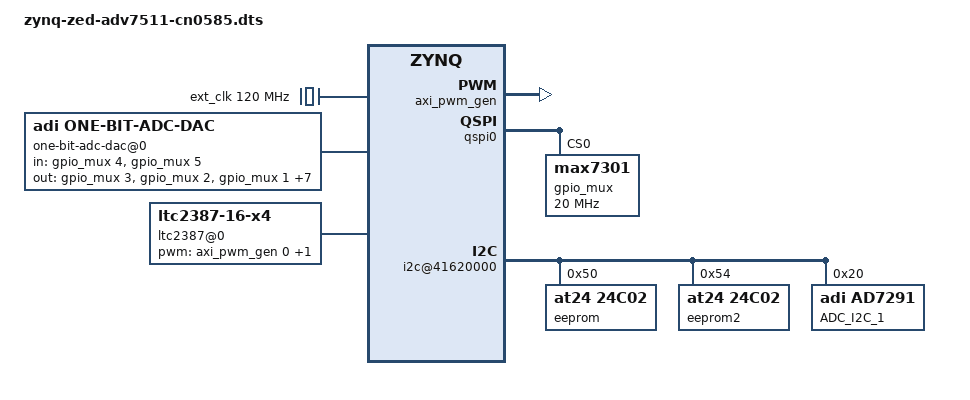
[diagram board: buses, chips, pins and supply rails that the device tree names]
/dts-v1/;

#include "zynq-zed.dtsi"
#include "zynq-zed-adv7511.dtsi"
#include <dt-bindings/interrupt-controller/irq.h>
#include <dt-bindings/gpio/gpio.h>
#include <dt-bindings/pwm/pwm.h>

/ {
	clocks {
		ext_clk: clock@0 {
			#clock-cells = <0>;
			compatible = "fixed-clock";
			clock-frequency = <120000000>;
		};
	};

	one-bit-adc-dac@0 {
		compatible = "adi,one-bit-adc-dac";
		#address-cells = <1>;
		#size-cells = <0>;

		in-gpios =  <&gpio_mux 4 GPIO_ACTIVE_HIGH>,
				<&gpio_mux 5 GPIO_ACTIVE_HIGH>;
		out-gpios = <&gpio_mux 3 GPIO_ACTIVE_HIGH>,
				<&gpio_mux 2 GPIO_ACTIVE_HIGH>,
				<&gpio_mux 1 GPIO_ACTIVE_HIGH>,
				<&gpio_mux 0 GPIO_ACTIVE_HIGH>,
				<&gpio_mux 6 GPIO_ACTIVE_HIGH>,
				<&gpio_mux 7 GPIO_ACTIVE_HIGH>,
				<&gpio_mux 11 GPIO_ACTIVE_HIGH>,
				<&gpio_mux 12 GPIO_ACTIVE_HIGH>,
				<&gpio_mux 13 GPIO_ACTIVE_HIGH>,
				<&gpio_mux 14 GPIO_ACTIVE_HIGH>;

		channel@0 {
			reg = <0>;
			label = "GPIO4_VIO";
		};
		channel@1 {
			reg = <1>;
			label = "GPIO5_VIO";
		};
		channel@2 {
			reg = <2>;
			label = "GPIO0_VIO";
		};
		channel@3 {
			reg = <3>;
			label = "GPIO1_VIO";
		};
		channel@4 {
			reg = <4>;
			label = "GPIO2_VIO";
		};
		channel@5 {
			reg = <5>;
			label = "GPIO3_VIO";
		};
		channel@6 {
			reg = <6>;
			label = "GPIO6_VIO";
		};
		channel@7 {
			reg = <7>;
			label = "GPIO7_VIO";
		};
		channel@8 {
			reg = <8>;
			label = "PAD_ADC0";
		};
		channel@9 {
			reg = <9>;
			label = "PAD_ADC1";
		};
		channel@10 {
			reg = <10>;
			label = "PAD_ADC2";
		};
		channel@11 {
			reg = <11>;
			label = "PAD_ADC3";
		};
	};
};

&fpga_axi {
	axi_pwm_gen: pwm@44B10000 {
		compatible = "adi,axi-pwmgen";
		reg = <0x44B10000 0x1000>;
		label = "ltc2387_if";
		#pwm-cells = <2>;
		clocks = <&ext_clk>;
	};

	ref_clk: clk@44B00000 {
		compatible = "adi,axi-clkgen-2.00.a";
		reg = <0x44B00000 0x10000>;
		#clock-cells = <0>;
		clocks = <&clkc 15>, <&clkc 15>;
		clock-names = "s_axi_aclk", "clkin1";
		clock-output-names = "ref_clk";
	};

	rx_dma: dmac@44A40000 {
		compatible = "adi,axi-dmac-1.00.a";
		reg = <0x44A40000 0x1000>;
		#dma-cells = <1>;
		interrupts = <0 57 IRQ_TYPE_LEVEL_HIGH>;
		clocks = <&clkc 15>;

		adi,channels {
			#size-cells = <0>;
			#address-cells = <1>;

			dma-channel@0 {
				reg = <0>;
				adi,source-bus-width = <64>;
				adi,source-bus-type = <2>;
				adi,destination-bus-width = <64>;
				adi,destination-bus-type = <0>;
			};
		};
	};

	ltc2387@0{
		compatible = "ltc2387-16-x4";
		pwms = <&axi_pwm_gen 0 0
			&axi_pwm_gen 1 0>;
		pwm-names = "cnv", "clk_en";
		clocks = <&ref_clk>;
		dmas = <&rx_dma 0>;
		dma-names = "rx";
		adi,use-two-lanes;
	};

        qspi0: spi@0x44B20000 {
                #address-cells = <1>;
                #size-cells = <0>;
                reg = <0x44B20000 0x1000>;
                num-cs = <0x2>;
                compatible = "xlnx,xps-spi-2.00.a";
                bits-per-word = <16>;
                fifo-size = <16>;
                clock-names = "ext_spi_clk", "s_axi_aclk";
                clocks = <&clkc 15>, <&clkc 15>;
                interrupt-names = "ip2intc_irpt";
                interrupt-parent = <&intc>;
                interrupts = <0 52 IRQ_TYPE_LEVEL_HIGH>;

                gpio_mux: max7301@0 {
                        compatible = "max7301";
                        reg = <0>;
                        spi-max-frequency = <20000000>;
                        #gpio-cells = <2>;
                        gpio-controller;
                };
        };

	dac0_tx_dma: tx-dmac@0x44D30000 {
		compatible = "adi,axi-dmac-1.00.a";
		reg = <0x44D30000 0x10000>;
		#dma-cells = <1>;
		interrupt-parent = <&intc>;
		interrupts = <0 34 IRQ_TYPE_LEVEL_HIGH>;
		clocks = <&clkc 15>;

		adi,channels {
			#size-cells = <0>;
			#address-cells = <1>;

			dma-channel@0 {
				reg = <0>;
				adi,source-bus-width = <32>;
				adi,source-bus-type = <0>;
				adi,destination-bus-width = <32>;
				adi,destination-bus-type = <1>;
			};
		};
	};

	dac1_tx_dma: tx-dmac@0x44E30000 {
		compatible = "adi,axi-dmac-1.00.a";
		reg = <0x44E30000 0x10000>;
		#dma-cells = <1>;
		interrupt-parent = <&intc>;
		interrupts = <0 33 IRQ_TYPE_LEVEL_HIGH>;
		clocks = <&clkc 15>;

		adi,channels {
			#size-cells = <0>;
			#address-cells = <1>;

			dma-channel@0 {
				reg = <0>;
				adi,source-bus-width = <32>;
				adi,source-bus-type = <0>;
				adi,destination-bus-width = <32>;
				adi,destination-bus-type = <1>;
			};
		};
	};

	axi_ad3552r_0: axi-ad3552r-0@44d04000 {
		compatible = "adi,axi-ad3552r";
		reg = <0x44d04000 0x1000>;

		reset-gpios = <&gpio0 90 GPIO_ACTIVE_LOW>;

		clocks = <&ref_clk>;

		dmas = <&dac0_tx_dma 0>;
		dma-names = "tx";
	};

	axi_ad3552r_1: axi-ad3552r-1@44e04000 {
		compatible = "adi,axi-ad3552r";
		reg = <0x44e04000 0x1000>;

		clocks = <&ref_clk>;

		dmas = <&dac1_tx_dma 0>;
		dma-names = "tx";
	};
	
	mwipcore@43c00000 {
		compatible = "mathworks,mwipcore-v3.00";
		reg = <0x43C00000 0xfffff>;
		#address-cells = <1>;
		#size-cells = <0>;
		mmwr-channel@0{
				reg = <0x0>;
				compatible = "mathworks,mm-write-channel-v1.00";
		};
		mmrd-channel@1{
				reg = <0x1>;
				compatible = "mathworks,mm-read-channel-v1.00";
		};
	
		
	};

	i2c@41620000 {
		compatible = "xlnx,axi-iic-1.01.b", "xlnx,xps-iic-2.00.a";
		reg = <0x41620000 0x10000>;
		interrupt-parent = <&intc>;
		interrupts = <0 55 IRQ_TYPE_LEVEL_HIGH>;
		clocks = <&clkc 15>;
		clock-names = "pclk";

		#size-cells = <0>;
		#address-cells = <1>;

		eeprom@50 {
			compatible = "at24,24c02";
			reg = <0x50>;
		};
		eeprom2@54 {
			compatible = "at24,24c02";
			reg = <0x54>;
		};
		ad7291_1@20 {
			label = "ADC_I2C_1";
			compatible = "adi,ad7291";
			reg = <0x20>;
		};

	};
};
